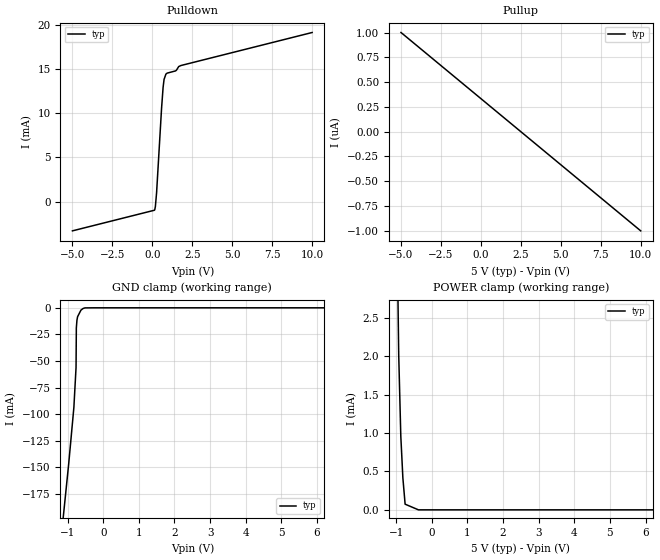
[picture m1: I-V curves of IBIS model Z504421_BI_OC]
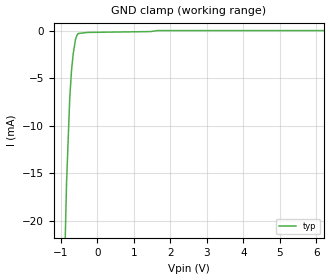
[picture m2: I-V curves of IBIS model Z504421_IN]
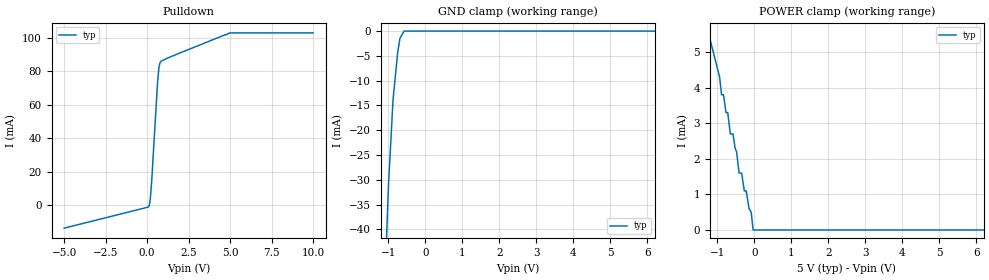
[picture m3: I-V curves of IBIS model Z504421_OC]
| YOU ARE ONLY AUTHORIZED TO USE THIS SOFTWARE
| ACCORDING TO LICENSOR'S LICENSE RESTRICTIONS.
[IBIS Ver] 3.1
[File Name] sn54ls247j.ibs
[File Rev] 2.0
[Source] Measured and created by ICX Technology
[Date] Friday 7/14/00 9:08:14 AM
[Copyright]
| (C) COPYRIGHT 1993-2000
| MENTOR GRAPHICS CORPORATION
| ICX STANDARD LIBRARY, ICX PROJECT MODELING,
| ICX CUSTOM MODELING, ICX VENDOR MODEL
| ALL RIGHTS RESERVED.
| THE FOLLOWING ARE TRADEMARKS OR SERVICE MARKS OF
| MENTOR GRAPHICS CORPORATION:ICX (R), ICX STANDARD
| LIBRARY(R), ICX PROJECT MODELING(R), ICX CUSTOM
| MODELING(R), qualityIBIS(TM), MODELVIEWER(TM),
| AND MODELEDITOR(TM)
| ALL COPIES OF SOFTWARE, INCLUDING BUT NOT LIMITED TO
| ANY MODIFICATIONS, ENHANCEMENTS OR DERIVATIVE WORKS,
| MUST CONTAIN ALL MENTOR GRAPHICS CORPORATION'S
| NOTICES AND LEGENDS, INCLUDING THOSE EMBEDDED IN
| SOFTWARE AND THOSE AFFIXED TO SOFTWARE MEDIUM
| AND CONTAINER, AS RECEIVED FROM MENTOR GRAPHICS
| CORPORATION.
|  ZAP Model Builder 2.7
[Component] SN54LS247J
[Manufacturer] OnSemiconductor
[Package]
| variable   typ   min   max
R_pkg  .212ohms NA NA
L_pkg  4.758nH NA NA
C_pkg  1.944pF NA NA
[Pin] signal_name  model_name  R_pin  L_pin C_pin
1 DB Z504421_IN .224 7.258n 2.683p
2 DC Z504421_IN .216 5.258n 2.19p
3 _LT Z504421_IN .208 3.758n 1.697p
4 _BI_RBO Z504421_BI_OC .2 2.758n 1.204p
5 _RBI Z504421_IN .2 2.758n 1.204p
6 DD Z504421_IN .208 3.758n 1.697p
7 DA Z504421_IN .216 5.258n 2.19p
8 GND GND .224 7.258n 2.683p
9 _E Z504421_OC .224 7.258n 2.683p
10 _D Z504421_OC .216 5.258n 2.19p
11 _C Z504421_OC .208 3.758n 1.697p
12 _B Z504421_OC .2 2.758n 1.204p
13 _A Z504421_OC .2 2.758n 1.204p
14 _G Z504421_OC .208 3.758n 1.697p
15 _F Z504421_OC .216 5.258n 2.19p
16 VCC POWER .224 7.258n 2.683p
| Models and submodels in the file (3): Z504421_BI_OC (I/O_open_sink), Z504421_IN (Input), Z504421_OC (Open_sink)
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| (C) COPYRIGHT 1993-2000
| MENTOR GRAPHICS CORPORATION
| ICX STANDARD LIBRARY, ICX PROJECT MODELING,
| ICX CUSTOM MODELING, ICX VENDOR MODEL
| ALL RIGHTS RESERVED.
| THE FOLLOWING ARE TRADEMARKS OR SERVICE MARKS OF
| MENTOR GRAPHICS CORPORATION:ICX (R), ICX STANDARD
| LIBRARY(R), ICX PROJECT MODELING(R), ICX CUSTOM
| MODELING(R), qualityIBIS(TM), MODELVIEWER(TM),
| AND MODELEDITOR(TM)
| ALL COPIES OF SOFTWARE, INCLUDING BUT NOT LIMITED TO
| ANY MODIFICATIONS, ENHANCEMENTS OR DERIVATIVE WORKS,
| MUST CONTAIN ALL MENTOR GRAPHICS CORPORATION'S
| NOTICES AND LEGENDS, INCLUDING THOSE EMBEDDED IN
| SOFTWARE AND THOSE AFFIXED TO SOFTWARE MEDIUM
| AND CONTAINER, AS RECEIVED FROM MENTOR GRAPHICS
| CORPORATION.
| Model Application Version 1.89 2/18/99.
[Model] Z504421_BI_OC
Model_type I/O_open_sink
Vinl=800.0mV
Vinh=2.000V
Vref=5.000V
Rref=667.0ohms
Cref=45.00pF
Vmeas=1.300V
C_comp 8.000pF NA NA
| variable typ   min   max
[Voltage Range] 5.000V NA NA
[POWER Clamp Reference] 5.000V NA NA
[Pullup Reference] 5.000V NA NA
[Pulldown Reference] 0.000V NA NA
[GND Clamp Reference] 0.000V NA NA
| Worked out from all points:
|   slope of the pulldown table from 0 to 0.75 V, typ, clamps not added: 50.3 ohm
|   GND clamp passes 1 mA (typ) near -0.58 V on its own axis
|   POWER clamp passes 1 mA (typ) near -0.87 V on its own axis
[GND Clamp]
-5V       -1.468A    NA         NA
-966.8mV  -146mA     NA         NA
-823.1mV  -93.54mA   NA         NA
-762.2mV  -56.02mA   NA         NA
-754mV    -18.85mA   NA         NA
-737.3mV  -11.69mA   NA         NA
-718.7mV  -8.338mA   NA         NA
-624.5mV  -2.172mA   NA         NA
-566.5mV  -686.7uA   NA         NA
-251.7mV  0A         NA         NA
10V       0A         NA         NA
[Pulldown]
-5V       -3.3mA     NA         NA
132.1mV   -969uA     NA         NA
190.4mV   -548.4uA   NA         NA
267.3mV   1.042mA    NA         NA
577.4mV   10.55mA    NA         NA
673.5mV   12.91mA    NA         NA
733.6mV   13.81mA    NA         NA
849.6mV   14.41mA    NA         NA
1.45V     14.77mA    NA         NA
1.649V    15.26mA    NA         NA
1.79V     15.38mA    NA         NA
10V       19.11mA    NA         NA
[Pullup]
-5V       1uA        NA         NA
10V       -1uA       NA         NA
[POWER Clamp]
-5V       226.7mA    NA         NA
-1.181V   11.74mA    NA         NA
-1.064V   6.75mA     NA         NA
-928mV    2.022mA    NA         NA
-869mV    958.8uA    NA         NA
-811mV    415.1uA    NA         NA
-748mV    73.68uA    NA         NA
-374mV    0A         NA         NA
10V       0A         NA         NA
[Ramp]
| variable typ min max
dV/dt_r 2.206/14.19n NA NA
dV/dt_f 2.206/10.84n NA NA
R_load = 250.0Ohms
| (C) COPYRIGHT 1993-2000
| MENTOR GRAPHICS CORPORATION
| ICX STANDARD LIBRARY, ICX PROJECT MODELING,
| ICX CUSTOM MODELING, ICX VENDOR MODEL
| ALL RIGHTS RESERVED.
| THE FOLLOWING ARE TRADEMARKS OR SERVICE MARKS OF
| MENTOR GRAPHICS CORPORATION:ICX (R), ICX STANDARD
| LIBRARY(R), ICX PROJECT MODELING(R), ICX CUSTOM
| MODELING(R), qualityIBIS(TM), MODELVIEWER(TM),
| AND MODELEDITOR(TM)
| ALL COPIES OF SOFTWARE, INCLUDING BUT NOT LIMITED TO
| ANY MODIFICATIONS, ENHANCEMENTS OR DERIVATIVE WORKS,
| MUST CONTAIN ALL MENTOR GRAPHICS CORPORATION'S
| NOTICES AND LEGENDS, INCLUDING THOSE EMBEDDED IN
| SOFTWARE AND THOSE AFFIXED TO SOFTWARE MEDIUM
| AND CONTAINER, AS RECEIVED FROM MENTOR GRAPHICS
| CORPORATION.
| Model Application Version 1.89 2/18/99.
[Model] Z504421_IN
Model_type Input
Vinl = 800.0mV
Vinh = 2.000V
C_comp 4.000pF NA NA
| variable typ   min   max
[Voltage Range] 5.000V NA NA
[GND Clamp Reference] 0.000V NA NA
[POWER Clamp Reference] 5.000V NA NA
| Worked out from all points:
|   GND clamp passes 1 mA (typ) near -0.60 V on its own axis
[GND Clamp]
-5V       -702mA     NA         NA
-844.7mV  -16.17mA   NA         NA
-756.1mV  -7.131mA   NA         NA
-707.6mV  -4.212mA   NA         NA
-660.9mV  -2.447mA   NA         NA
-599.9mV  -970.9uA   NA         NA
-565mV    -551.9uA   NA         NA
-527.3mV  -320.8uA   NA         NA
-263.7mV  -201.9uA   NA         NA
1.465V    -111.1uA   NA         NA
1.645V    -8.061uA   NA         NA
10V       -8.061uA   NA         NA
[POWER Clamp]
-5V       0A         NA         NA
10V       0A         NA         NA
| (C) COPYRIGHT 1993-2000
| MENTOR GRAPHICS CORPORATION
| ICX STANDARD LIBRARY, ICX PROJECT MODELING,
| ICX CUSTOM MODELING, ICX VENDOR MODEL
| ALL RIGHTS RESERVED.
| THE FOLLOWING ARE TRADEMARKS OR SERVICE MARKS OF
| MENTOR GRAPHICS CORPORATION:ICX (R), ICX STANDARD
| LIBRARY(R), ICX PROJECT MODELING(R), ICX CUSTOM
| MODELING(R), qualityIBIS(TM), MODELVIEWER(TM),
| AND MODELEDITOR(TM)
| ALL COPIES OF SOFTWARE, INCLUDING BUT NOT LIMITED TO
| ANY MODIFICATIONS, ENHANCEMENTS OR DERIVATIVE WORKS,
| MUST CONTAIN ALL MENTOR GRAPHICS CORPORATION'S
| NOTICES AND LEGENDS, INCLUDING THOSE EMBEDDED IN
| SOFTWARE AND THOSE AFFIXED TO SOFTWARE MEDIUM
| AND CONTAINER, AS RECEIVED FROM MENTOR GRAPHICS
| CORPORATION.
| Model Application Version 1.89 2/18/99.
[Model] Z504421_OC
Model_type Open_sink
Vref=5.000V
Rref=2.001kohms
Cref=15.00pF
Vmeas=1.300V
C_comp 8.000pF NA NA
| variable typ   min   max
[Voltage Range] 5.000V NA NA
[POWER Clamp Reference] 5.000V NA NA
[Pullup Reference] 5.000V NA NA
[Pulldown Reference] 0.000V NA NA
[GND Clamp Reference] 0.000V NA NA
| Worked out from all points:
|   slope of the pulldown table from 0 to 0.75 V, typ, clamps not added: 8.8 ohm
|   GND clamp passes 1 mA (typ) near -0.65 V on its own axis
|   POWER clamp passes 1 mA (typ) near -0.20 V on its own axis
[GND Clamp]
-5V       -1.379A    NA         NA
-1.055V   -43.82mA   NA         NA
-990.4mV  -30.86mA   NA         NA
-868.5mV  -13.82mA   NA         NA
-742.1mV  -4.268mA   NA         NA
-682mV    -1.451mA   NA         NA
-568.3mV  0A         NA         NA
10V       0A         NA         NA
[Pulldown]
-5V       -13.55mA   NA         NA
68.4mV    -973.9uA   NA         NA
107.5mV   -446.9uA   NA         NA
151.3mV   1.044mA    NA         NA
204.8mV   5.39mA     NA         NA
273.3mV   14.39mA    NA         NA
626mV     73.03mA    NA         NA
699.4mV   81.25mA    NA         NA
756.1mV   84.42mA    NA         NA
849.7mV   85.95mA    NA         NA
4.961V    102.8mA    NA         NA
10V       102.8mA    NA         NA
[POWER Clamp]
-5V       44.4mA     NA         NA
-1.352V   6mA        NA         NA
-937mV    4.3mA      NA         NA
-884mV    3.8mA      NA         NA
-717mV    3.3mA      NA         NA
-646.5mV  2.7mA      NA         NA
-576mV    2.7mA      NA         NA
-410mV    1.6mA      NA         NA
-341mV    1.6mA      NA         NA
-83mV     500uA      NA         NA
-31.5mV   0A         NA         NA
10V       0A         NA         NA
[Ramp]
| variable typ min max
dV/dt_r 2.820/19.42n NA NA
dV/dt_f 2.820/6.772n NA NA
R_load = 250.0Ohms
